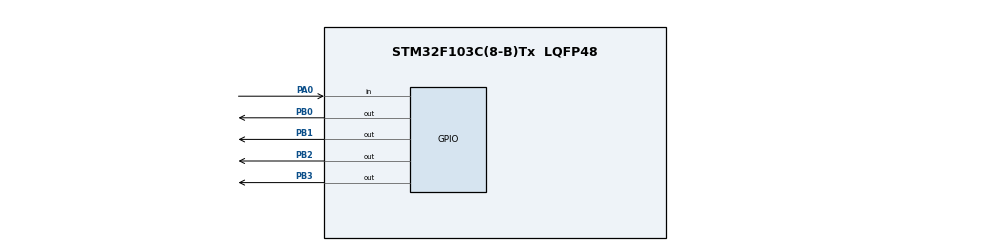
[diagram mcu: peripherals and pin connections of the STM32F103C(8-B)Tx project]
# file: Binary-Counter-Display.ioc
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Mcu.Family=STM32F1
Mcu.Name=STM32F103C(8-B)Tx
Mcu.Package=LQFP48
NVIC.PriorityGroup=NVIC_PRIORITYGROUP_4
PA0-WKUP.GPIO_PuPd=GPIO_PULLDOWN
PA0-WKUP.Signal=GPIO_Input
PB0.Signal=GPIO_Output
PB1.Signal=GPIO_Output
PB2.Signal=GPIO_Output
PB3.Signal=GPIO_Output
ProjectManager.HeapSize=0x200
ProjectManager.StackSize=0x400
ProjectManager.TargetToolchain=STM32CubeIDE
RCC.APB1Freq_Value=8000000
RCC.APB2Freq_Value=8000000
board=custom

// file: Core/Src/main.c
/* USER CODE BEGIN Header */
/**
  ******************************************************************************
  * @file           : main.c
  * @brief          : Main program body
  ******************************************************************************
  * @attention
  *
  * Copyright (c) 2026 STMicroelectronics.
  * All rights reserved.
  *
  * This software is licensed under terms that can be found in the LICENSE file
  * in the root directory of this software component.
  * If no LICENSE file comes with this software, it is provided AS-IS.
  *
  ******************************************************************************
  */
/* USER CODE END Header */
#include "main.h"

void SystemClock_Config(void);
static void MX_GPIO_Init(void);

int main(void)
{

  /* MCU Configuration--------------------------------------------------------*/

  /* Reset of all peripherals, Initializes the Flash interface and the Systick. */
  HAL_Init();

  /* Configure the system clock */
  SystemClock_Config();

  /* Initialize all configured peripherals */
  MX_GPIO_Init();

  /* Infinite loop */
  /* USER CODE BEGIN WHILE */

  uint32_t time;
  uint32_t debounce = 0;

  int button;
  int prv_button = GPIO_PIN_SET;
  int stable_button = GPIO_PIN_SET;

  int count = 0;

  GPIOB->BSRR = 0x0F << 16;

  while (1)
  {
	  time = HAL_GetTick();
	  button = HAL_GPIO_ReadPin(GPIOA, GPIO_PIN_0);

	  if(button != prv_button)
	  {
		  prv_button = button;
		  debounce = time;
	  }

	  if((time - debounce) >= 30)
	  {

		  if(button != stable_button)
		  {
			  stable_button = button;

			  if(stable_button == GPIO_PIN_RESET)
			  {
				  count = (count + 1) & 0x0F;

				  GPIOB->BSRR = ((~count & 0x0F) << 16 ) | (count & 0x0F);
			  }
		  }

	  }
    /* USER CODE END WHILE */

  }
}

void SystemClock_Config(void)
{
  RCC_OscInitTypeDef RCC_OscInitStruct = {0};
  RCC_ClkInitTypeDef RCC_ClkInitStruct = {0};

  /** Initializes the RCC Oscillators according to the specified parameters
  * in the RCC_OscInitTypeDef structure.
  */
  RCC_OscInitStruct.OscillatorType = RCC_OSCILLATORTYPE_HSI;
  RCC_OscInitStruct.HSIState = RCC_HSI_ON;
  RCC_OscInitStruct.HSICalibrationValue = RCC_HSICALIBRATION_DEFAULT;
  RCC_OscInitStruct.PLL.PLLState = RCC_PLL_NONE;
  if (HAL_RCC_OscConfig(&RCC_OscInitStruct) != HAL_OK)
  {
    Error_Handler();
  }

  /** Initializes the CPU, AHB and APB buses clocks
  */
  RCC_ClkInitStruct.ClockType = RCC_CLOCKTYPE_HCLK|RCC_CLOCKTYPE_SYSCLK
                              |RCC_CLOCKTYPE_PCLK1|RCC_CLOCKTYPE_PCLK2;
  RCC_ClkInitStruct.SYSCLKSource = RCC_SYSCLKSOURCE_HSI;
  RCC_ClkInitStruct.AHBCLKDivider = RCC_SYSCLK_DIV1;
  RCC_ClkInitStruct.APB1CLKDivider = RCC_HCLK_DIV1;
  RCC_ClkInitStruct.APB2CLKDivider = RCC_HCLK_DIV1;

  if (HAL_RCC_ClockConfig(&RCC_ClkInitStruct, FLASH_LATENCY_0) != HAL_OK)
  {
    Error_Handler();
  }
}

static void MX_GPIO_Init(void)
{
  GPIO_InitTypeDef GPIO_InitStruct = {0};

  /* GPIO Ports Clock Enable */
  __HAL_RCC_GPIOA_CLK_ENABLE();
  __HAL_RCC_GPIOB_CLK_ENABLE();

  /*Configure GPIO pin Output Level */
  HAL_GPIO_WritePin(GPIOB, GPIO_PIN_0|GPIO_PIN_1|GPIO_PIN_2|GPIO_PIN_3, GPIO_PIN_RESET);

  /*Configure GPIO pin : PA0 */
  GPIO_InitStruct.Pin = GPIO_PIN_0;
  GPIO_InitStruct.Mode = GPIO_MODE_INPUT;
  GPIO_InitStruct.Pull = GPIO_PULLDOWN;
  HAL_GPIO_Init(GPIOA, &GPIO_InitStruct);

  /*Configure GPIO pins : PB0 PB1 PB2 PB3 */
  GPIO_InitStruct.Pin = GPIO_PIN_0|GPIO_PIN_1|GPIO_PIN_2|GPIO_PIN_3;
  GPIO_InitStruct.Mode = GPIO_MODE_OUTPUT_PP;
  GPIO_InitStruct.Pull = GPIO_NOPULL;
  GPIO_InitStruct.Speed = GPIO_SPEED_FREQ_LOW;
  HAL_GPIO_Init(GPIOB, &GPIO_InitStruct);

}

void Error_Handler(void)
{
  __disable_irq();
  while (1)
  {
  }
}
